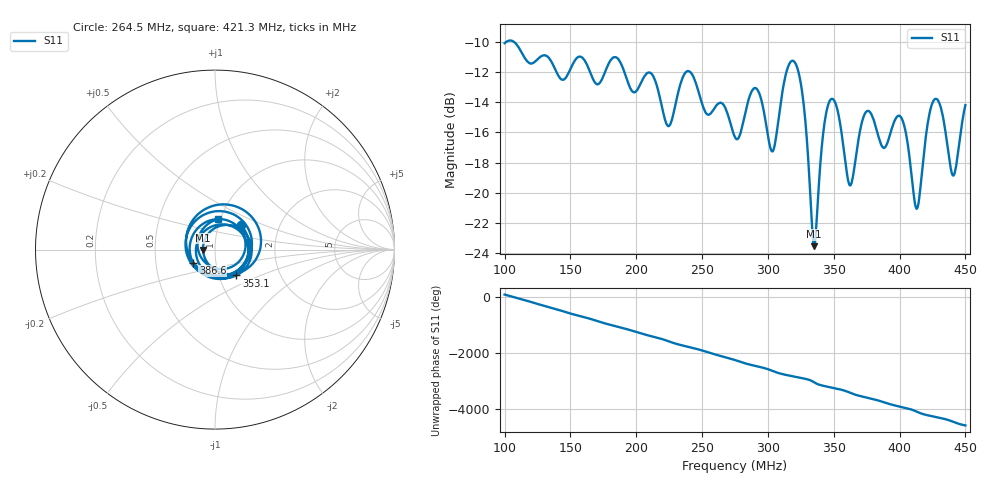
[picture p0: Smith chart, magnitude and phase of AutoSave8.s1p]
!Agilent N9923A: A.05.17
!Date: Sunday, 01 January 2006 12:44:59
!Model: N9923A
!Serial: MY50371189
!CHECKSUM:1557265932
!Correction: S11(ON U)
!S1P File: Measurement: S11:
# Hz S RI R 50
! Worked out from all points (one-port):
!   1001 points, 100 MHz to 450 MHz, reference 50 ohm
!   lowest |S11| = -23.5 dB at 335.2 MHz (marker M1), VSWR 1.14, Z = 43.8 - j0.152 ohm
!   |S11| at or under -10 dB: start of sweep to 101.4 MHz; 107 MHz to end of sweep
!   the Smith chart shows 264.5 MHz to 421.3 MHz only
!   S11 on the Smith chart (normalised r, x): 264.5 MHz: 1.29, +0.36; 353.1 MHz: 1.21, -0.36; 386.6 MHz: 0.78, -0.12; 421.3 MHz: 0.97, +0.34
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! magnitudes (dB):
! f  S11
! 100 MHz  -10.1
! 143.8 MHz  -12.5
! 187.5 MHz  -11.3
! 198 MHz  -13.3
! 212 MHz  -12.2
! 223.9 MHz  -15.6
! 231.2 MHz  -13.6
! 239.7 MHz  -11.9
! 253.7 MHz  -14.8
! 264.5 MHz  -14.0
! 275 MHz  -16.3
! 290.8 MHz  -13.1
! 303.7 MHz  -17.2
! 318.8 MHz  -11.3
! 326.4 MHz  -13.6
! 335.2 MHz  -23.5
! 344.3 MHz  -14.7
! 353.1 MHz  -14.6
! 362.5 MHz  -19.5
! 374.4 MHz  -14.7
! 386.6 MHz  -16.9
! 399.2 MHz  -14.9
! 406.2 MHz  -16.8
! 413.2 MHz  -21.0
! 421.3 MHz  -15.4
! 429.7 MHz  -14.0
! 440.9 MHz  -18.9
! 450 MHz  -14.2
